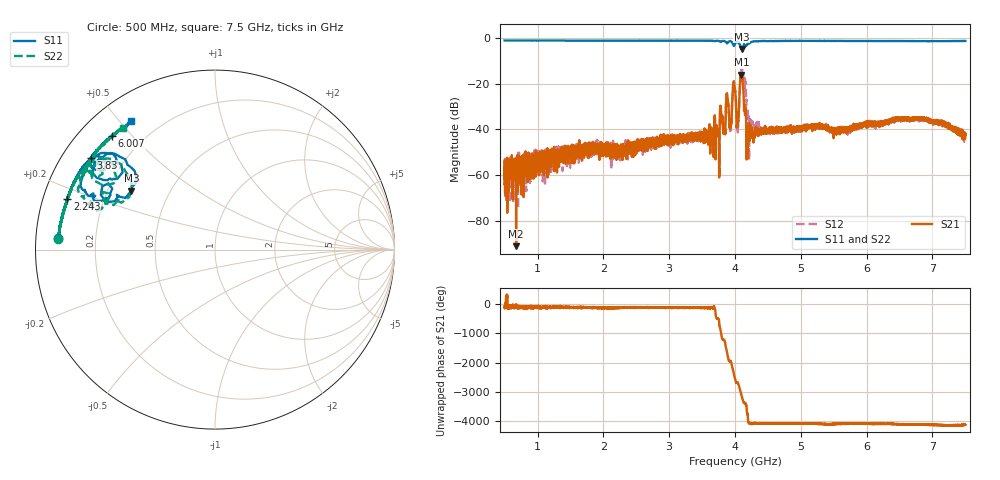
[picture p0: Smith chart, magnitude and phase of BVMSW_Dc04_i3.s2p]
!Keysight Technologies,M9374A,MY55442783,A.12.55.05
!Date: Thursday, May 20, 2021 18:07:40
!Correction: S11(Full 2 Port(1,2))
!S21(Full 2 Port(1,2))
!S12(Full 2 Port(1,2))
!S22(Full 2 Port(1,2))
!S2P File: Measurements: S11, S21, S12, S22:
# Hz S  RI  R 50
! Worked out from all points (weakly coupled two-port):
!   7001 points, 500 MHz to 7.5 GHz, reference 50 ohm
!   highest |S21| = -16.05 dB at 4.096 GHz (marker M1); lowest = -91.1 dB at 675 MHz (marker M2)
!   lowest |S11| = -4.9 dB at 4.103 GHz (marker M3), VSWR 3.65, Z = 15 + j14.5 ohm
!   |S11| at or under -10 dB: nowhere
!   |S22| runs from -5.1 to -1.1 dB; largest |S21 - S12| = 0.15
!   S11 on the Smith chart (normalised r, x): 500 MHz: 0.07, +0.04; 2.243 GHz: 0.07, +0.17; 3.83 GHz: 0.08, +0.33; 6.007 GHz: 0.09, +0.44; 7.5 GHz: 0.10, +0.54
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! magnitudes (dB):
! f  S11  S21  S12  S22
! 500 MHz  -1.1  -64.1  -54.0  -1.1
! 675 MHz  -1.2  -91.1  -56.6  -1.2
! 1.667 GHz  -1.2  -47.9  -51.2  -1.2
! 2.243 GHz  -1.2  -52.2  -52.1  -1.2
! 2.834 GHz  -1.2  -45.7  -46.5  -1.2
! 3.649 GHz  -1.3  -42.2  -41.2  -1.3
! 3.83 GHz  -1.3  -39.9  -40.7  -1.4
! 3.885 GHz  -2.2  -26.2  -26.0  -2.3
! 3.93 GHz  -1.4  -39.4  -39.0  -1.5
! 3.979 GHz  -3.4  -19.3  -19.0  -3.3
! 4 GHz  -2.7  -22.7  -22.2  -2.7
! 4.043 GHz  -1.9  -37.0  -41.4  -1.9
! 4.096 GHz  -4.8  -16.1  -14.3  -4.6
! 4.103 GHz  -4.9  -16.6  -13.6  -5.1
! 4.138 GHz  -2.9  -31.8  -19.5  -3.0
! 4.166 GHz  -3.5  -32.0  -22.4  -3.5
! 4.207 GHz  -2.6  -38.4  -36.5  -2.7
! 5.167 GHz  -1.3  -39.1  -38.8  -1.3
! 6.007 GHz  -1.4  -37.8  -37.3  -1.3
! 6.334 GHz  -1.4  -36.7  -36.8  -1.4
! 6.889 GHz  -1.4  -35.9  -36.2  -1.4
! 7.5 GHz  -1.4  -42.7  -42.1  -1.4
